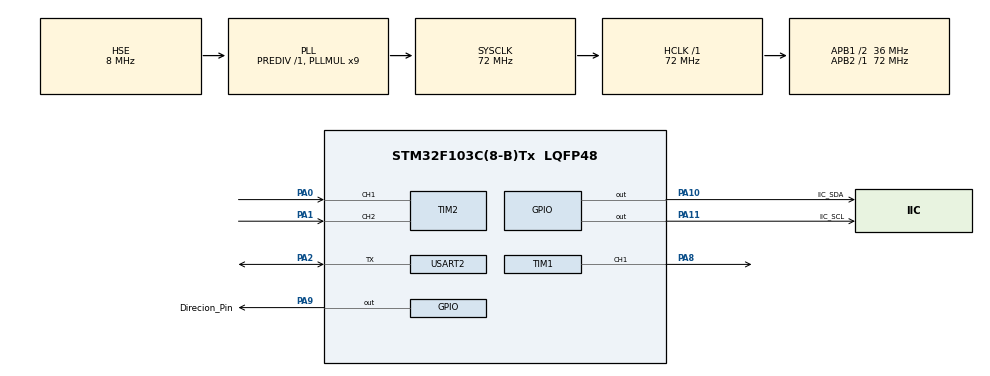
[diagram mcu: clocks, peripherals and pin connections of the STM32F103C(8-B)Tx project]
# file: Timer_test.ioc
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Mcu.Family=STM32F1
Mcu.Name=STM32F103C(8-B)Tx
Mcu.Package=LQFP48
NVIC.PriorityGroup=NVIC_PRIORITYGROUP_4
NVIC.TIM2_IRQn=true\:0\:0\:false\:false\:true\:true\:true
NVIC.TIM3_IRQn=true\:0\:0\:false\:false\:true\:true\:true
PA0-WKUP.Signal=S_TIM2_CH1_ETR
PA1.Signal=S_TIM2_CH2
PA10.GPIO_Label=IIC_SDA
PA10.GPIO_Speed=GPIO_SPEED_FREQ_HIGH
PA10.PinState=GPIO_PIN_RESET
PA10.Signal=GPIO_Output
PA11.GPIO_Label=IIC_SCL
PA11.GPIO_Speed=GPIO_SPEED_FREQ_HIGH
PA11.PinState=GPIO_PIN_RESET
PA11.Signal=GPIO_Output
PA13.Mode=Serial_Wire
PA13.Signal=SYS_JTMS-SWDIO
PA14.Mode=Serial_Wire
PA14.Signal=SYS_JTCK-SWCLK
PA2.Mode=Half_duplex(single_wire_mode)
PA2.Signal=USART2_TX
PA8.GPIO_Speed=GPIO_SPEED_FREQ_HIGH
PA8.Signal=S_TIM1_CH1
PA9.GPIO_Label=Direcion_Pin
PA9.GPIO_Speed=GPIO_SPEED_FREQ_HIGH
PA9.PinState=GPIO_PIN_SET
PA9.Signal=GPIO_Output
PD0-OSC_IN.Mode=HSE-External-Oscillator
PD0-OSC_IN.Signal=RCC_OSC_IN
PD1-OSC_OUT.Mode=HSE-External-Oscillator
PD1-OSC_OUT.Signal=RCC_OSC_OUT
ProjectManager.HeapSize=0x200
ProjectManager.StackSize=0x400
ProjectManager.TargetToolchain=MDK-ARM V5.27
RCC.AHBFreq_Value=72000000
RCC.APB1CLKDivider=RCC_HCLK_DIV2
RCC.APB1Freq_Value=36000000
RCC.APB1TimFreq_Value=72000000
RCC.APB2Freq_Value=72000000
RCC.APB2TimFreq_Value=72000000
RCC.HCLKFreq_Value=72000000
RCC.PLLMUL=RCC_PLL_MUL9
RCC.PLLSourceVirtual=RCC_PLLSOURCE_HSE
RCC.SYSCLKFreq_VALUE=72000000
RCC.SYSCLKSource=RCC_SYSCLKSOURCE_PLLCLK
RCC.USBFreq_Value=72000000
SH.S_TIM1_CH1.0=TIM1_CH1,PWM Generation1 CH1
SH.S_TIM2_CH1_ETR.0=TIM2_CH1,Encoder_Interface
SH.S_TIM2_CH2.0=TIM2_CH2,Encoder_Interface
TIM1.Channel-PWM\ Generation1\ CH1=TIM_CHANNEL_1
TIM1.OCPolarity_1=TIM_OCPOLARITY_LOW
TIM1.Period=900-1
TIM3.AutoReloadPreload=TIM_AUTORELOAD_PRELOAD_ENABLE
TIM3.Period=1000-1
TIM3.Prescaler=72-1
USART2.VirtualMode=VM_ASYNC
VP_TIM3_VS_ClockSourceINT.Mode=Internal
board=custom

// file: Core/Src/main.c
/* USER CODE BEGIN Header */
/**
  ******************************************************************************
  * @file           : main.c
  * @brief          : Main program body
  ******************************************************************************
  * @attention
  *
  * <h2><center>&copy; Copyright (c) 2021 STMicroelectronics.
  * All rights reserved.</center></h2>
  *
  * This software component is licensed by ST under BSD 3-Clause license,
  * the "License"; You may not use this file except in compliance with the
  * License. You may obtain a copy of the License at:
  *                        opensource.org/licenses/BSD-3-Clause
  *
  ******************************************************************************
  */
/* USER CODE END Header */
#include "main.h"
#include "tim.h"
#include "usart.h"
#include "gpio.h"

/* USER CODE BEGIN Includes */
#include "pid.h"
#include "simulate_iic.h"
#include "MPU6050.h"
/* USER CODE END Includes */

/* USER CODE BEGIN PV */
float nowAngle_Y = 0;
/* USER CODE END PV */

void SystemClock_Config(void);

/* USER CODE BEGIN 0 */
int fputc(int ch, FILE *f)
{

	HAL_UART_Transmit(&huart2, (unsigned char *)&ch, 1, 0xFFFF);
	while(__HAL_UART_GET_FLAG(&huart2,UART_FLAG_TC)!=SET);

	//while ((USART1->SR & 0X40) == 0);
    //USART1->DR = (uint8_t) ch;
    return ch;
}
/* USER CODE END 0 */

int main(void)
{
  /* USER CODE BEGIN 1 */
//  PIDTydef pidMain = {0};
  /* USER CODE END 1 */

  /* MCU Configuration--------------------------------------------------------*/

  /* Reset of all peripherals, Initializes the Flash interface and the Systick. */
  HAL_Init();

  /* Configure the system clock */
  SystemClock_Config();

  /* Initialize all configured peripherals */
  MX_GPIO_Init();
  MX_TIM1_Init();
  MX_TIM2_Init();
  MX_TIM3_Init();
  MX_USART2_UART_Init();
  /* USER CODE BEGIN 2 */
  IIC_Init();
  MPU6050_initialize();
  HAL_TIM_PWM_Start(&htim1,TIM_CHANNEL_1);
  HAL_TIM_Base_Start_IT(&htim3);
  HAL_TIM_Encoder_Start(&htim2,TIM_CHANNEL_ALL);

  PIDParameterInit();
  /* USER CODE END 2 */

  /* Infinite loop */
  while (1)
  {

    /* USER CODE BEGIN 3 */

	//printf("NowSpeed : %d  PWM : %d\r\n",ReturnSpeed,OutSpeed);
	 nowAngle_Y = Get_Angle(3);
	//printf("%f \r\n",X);

  }
  /* USER CODE END 3 */
}

void SystemClock_Config(void)
{
  RCC_OscInitTypeDef RCC_OscInitStruct = {0};
  RCC_ClkInitTypeDef RCC_ClkInitStruct = {0};

  /** Initializes the RCC Oscillators according to the specified parameters
  * in the RCC_OscInitTypeDef structure.
  */
  RCC_OscInitStruct.OscillatorType = RCC_OSCILLATORTYPE_HSE;
  RCC_OscInitStruct.HSEState = RCC_HSE_ON;
  RCC_OscInitStruct.HSEPredivValue = RCC_HSE_PREDIV_DIV1;
  RCC_OscInitStruct.HSIState = RCC_HSI_ON;
  RCC_OscInitStruct.PLL.PLLState = RCC_PLL_ON;
  RCC_OscInitStruct.PLL.PLLSource = RCC_PLLSOURCE_HSE;
  RCC_OscInitStruct.PLL.PLLMUL = RCC_PLL_MUL9;
  if (HAL_RCC_OscConfig(&RCC_OscInitStruct) != HAL_OK)
  {
    Error_Handler();
  }
  /** Initializes the CPU, AHB and APB buses clocks
  */
  RCC_ClkInitStruct.ClockType = RCC_CLOCKTYPE_HCLK|RCC_CLOCKTYPE_SYSCLK
                              |RCC_CLOCKTYPE_PCLK1|RCC_CLOCKTYPE_PCLK2;
  RCC_ClkInitStruct.SYSCLKSource = RCC_SYSCLKSOURCE_PLLCLK;
  RCC_ClkInitStruct.AHBCLKDivider = RCC_SYSCLK_DIV1;
  RCC_ClkInitStruct.APB1CLKDivider = RCC_HCLK_DIV2;
  RCC_ClkInitStruct.APB2CLKDivider = RCC_HCLK_DIV1;

  if (HAL_RCC_ClockConfig(&RCC_ClkInitStruct, FLASH_LATENCY_2) != HAL_OK)
  {
    Error_Handler();
  }
}

/* USER CODE BEGIN 4 */
void delay_us(uint32_t nus)
{
	uint32_t temp;
	SysTick->LOAD=nus*(72/8); //时间加载
	SysTick->VAL=0x00;        //清空计数器
	SysTick->CTRL=0x01 ;      //开始倒数
	do
	{
		temp=SysTick->CTRL;
	}
	while((temp&0x01)&&!(temp&(1<<16)));//等待时间到达
	SysTick->CTRL=0x00;       //关闭计数器
	SysTick->VAL =0X00;       //清空计数器
}
/* USER CODE END 4 */

void Error_Handler(void)
{
  __disable_irq();
  while (1)
  {
  }
}

/************************ (C) COPYRIGHT STMicroelectronics *****END OF FILE****/
